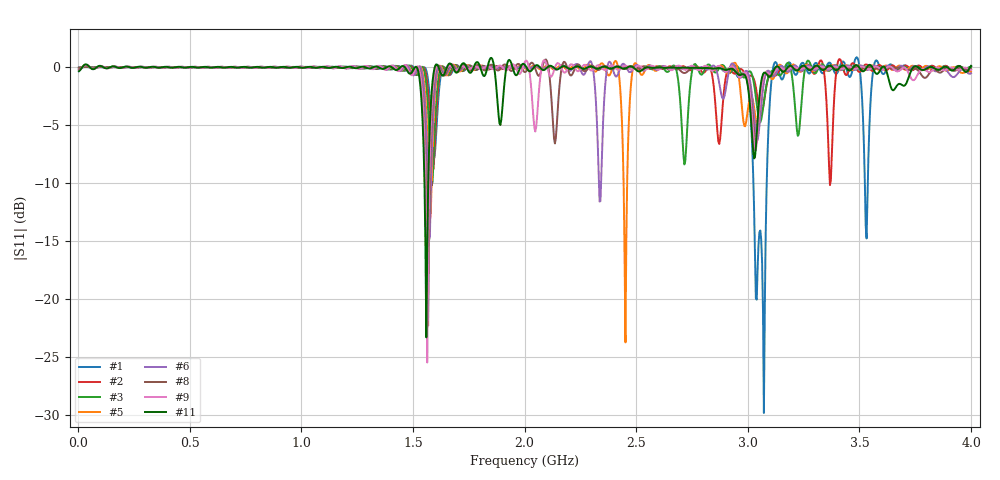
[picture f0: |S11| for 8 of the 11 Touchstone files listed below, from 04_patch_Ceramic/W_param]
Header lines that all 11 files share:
! TOUCHSTONE file generated by CST MICROWAVE STUDIO
! Project name: AppElm_antenne_patch_Alumina.cst
! Header version: 2018
! Port assignment regex: !\s*Touchstone port\s*([0-9]+)\s*=\s*(CST MWS port|CST DS port)\s*([0-9]+|Zmin|Zmax)\s*\(\"(.*)\"\)(\s*mode\s*([0-9]+))?.*
! Touchstone port assignment:
! Touchstone port 1 = CST MWS port 1 ("")
# GHz S MA R 50
Fixed: L = 30.5, e = 0.035, h = 1.6, lambda = 0.190476, ls = 90, w0 = 1.12, w1 = 0.373, ws = 90, y0 = 14, y1 = 10
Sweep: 4 MHz to 4 GHz
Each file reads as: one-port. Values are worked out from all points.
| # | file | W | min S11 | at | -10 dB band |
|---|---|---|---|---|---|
| 1 | AppElm_antenne_patch_Alumina_1.s1p | 31.35 | -29.9 dB | 3.072 GHz | 59.68 MHz wide |
| 2 | AppElm_antenne_patch_Alumina_2.s1p | 33.44 | -10.2 dB | 3.368 GHz | 1.996 MHz wide |
| 3 | AppElm_antenne_patch_Alumina_3.s1p | 35.53 | -10.2 dB | 1.584 GHz | 3.278 MHz wide |
| 4 | AppElm_antenne_patch_Alumina_4.s1p | 37.62 | -15.0 dB | 2.576 GHz | 14.59 MHz wide |
| 5 | AppElm_antenne_patch_Alumina_5.s1p | 39.71 | -23.8 dB | 2.452 GHz | 16 MHz wide |
| 6 | AppElm_antenne_patch_Alumina_6.s1p | 41.8 | -15.0 dB | 1.572 GHz | 14.73 MHz wide |
| 7 | AppElm_antenne_patch_Alumina_7.s1p | 43.89 | -17.1 dB | 1.572 GHz | 15.58 MHz wide |
| 8 | AppElm_antenne_patch_Alumina_8.s1p | 45.98 | -22.3 dB | 1.568 GHz | 16.53 MHz wide |
| 9 | AppElm_antenne_patch_Alumina_9.s1p | 48.07 | -25.5 dB | 1.564 GHz | 16.81 MHz wide |
| 10 | AppElm_antenne_patch_Alumina_10.s1p | 50.16 | -23.6 dB | 1.564 GHz | 17.61 MHz wide |
| 11 | AppElm_antenne_patch_Alumina_11.s1p | 52.25 | -23.3 dB | 1.56 GHz | 17.01 MHz wide |
